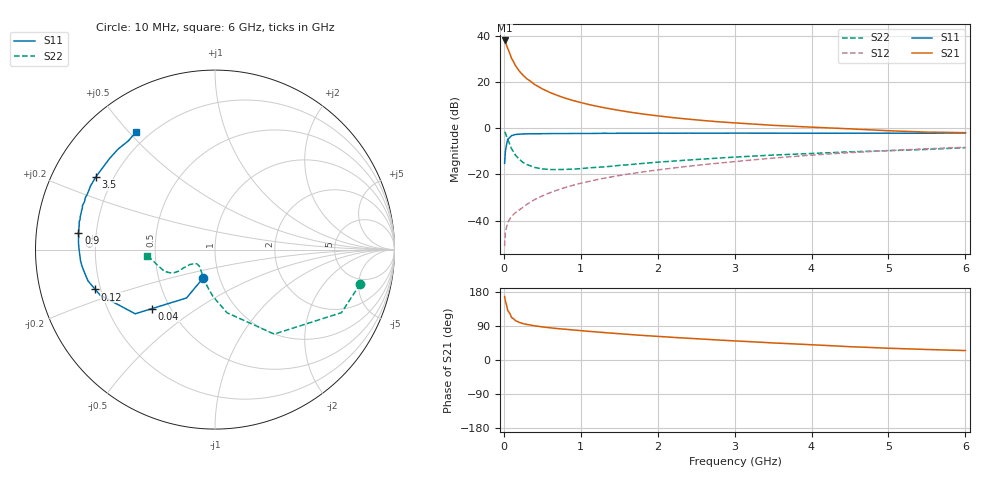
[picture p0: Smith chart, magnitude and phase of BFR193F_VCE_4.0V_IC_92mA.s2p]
! (c) 2017  Infineon Technologies AG, Munich
! Infineon Technologies  Discrete & RF Semiconductors
! BFR193F
! VCE =  4.0 V,  IC =  92 mA
! Common Emitter S-Parameters:  Jan 2017
# GHz  S  MA  R  50
!  f  S11  S21  S12  S22
! GHz  MAG  ANG  MAG  ANG  MAG  ANG  MAG  ANG
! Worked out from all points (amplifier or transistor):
!   77 points, 10 MHz to 6 GHz, reference 50 ohm
!   highest |S21| = 37.9 dB at 10 MHz (marker M1)
!   |S21| within 3 dB of that: start of sweep to 45.32 MHz
!   unconditionally stable (mu >= 1): 450.1 MHz to 2.789 GHz
!   at 130 MHz: K = 0.67, MSG = 32.8 dB, |S12| = -37.2 dB
!   at 2.2 GHz: K = 1.04, MAG = 9.7 dB, |S12| = -17.3 dB
!   at 6 GHz: K = 0.88, MSG = 3.2 dB, |S12| = -8.3 dB
!   S11 on the Smith chart (normalised r, x): 10 MHz: 0.83, -0.27; 40 MHz: 0.40, -0.34; 120 MHz: 0.18, -0.16; 900 MHz: 0.13, +0.06; 3.5 GHz: 0.13, +0.28; 6 GHz: 0.15, +0.52
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0.01  0.1732 -112.8  78.61 167.5  0.0028 79.8  0.8314 -13.3
0.02  0.3131 -120.5  73.37 155.3  0.0055 70.1  0.7873 -26.5
0.04  0.4795 -136.8  58.59 140.7  0.0078 58.7  0.6263 -43.5
0.05  0.5707 -141.2  53.19 130.7  0.009 55.3  0.5746 -55.0
0.1  0.6886 -158.4  32.3 112.2  0.0122 53.8  0.3585 -79.2
0.12  0.703 -161.6  28.37 109.6  0.0133 55.3  0.3178 -83.5
0.15  0.7284 -166.1  22.62 104.1  0.0149 57.2  0.2615 -92.5
0.2  0.7391 -170.2  17.21 99.3  0.017 59.4  0.2126 -101.2
0.25  0.7477 -173.4  13.88 96.1  0.0195 63.0  0.1807 -108.7
0.3  0.7518 -175.2  11.64 93.8  0.0225 65.3  0.1633 -114.4
0.4  0.7546 -178.2  8.767 90.1  0.0284 69.5  0.1412 -123.4
0.5  0.7579 179.6  7.045 87.4  0.0342 71.2  0.1311 -129.6
0.7  0.763 175.9  5.065 82.9  0.046 74.5  0.127 -137.8
0.9  0.7662 173.2  3.955 79.3  0.0582 75.6  0.13 -142.9
1.1  0.7679 170.8  3.254 75.7  0.0698 76.3  0.1381 -145.1
1.5  0.7726 166.3  2.415 69.4  0.0941 76.8  0.1563 -148.3
2.1  0.7762 160.8  1.763 61.1  0.1306 76.1  0.1885 -149.7
3.1  0.7784 152.2  1.267 49.4  0.1955 73.6  0.241 -149.6
3.5  0.778 148.7  1.149 45.0  0.2246 72.1  0.2611 -150.5
4.1  0.7744 143.0  1.032 39.2  0.2672 68.8  0.2874 -153.7
5.1  0.7766 132.7  0.865 30.4  0.3331 62.3  0.3295 -164.3
6  0.7886 124.0  0.797 24.9  0.3856 56.3  0.3778 -174.8
